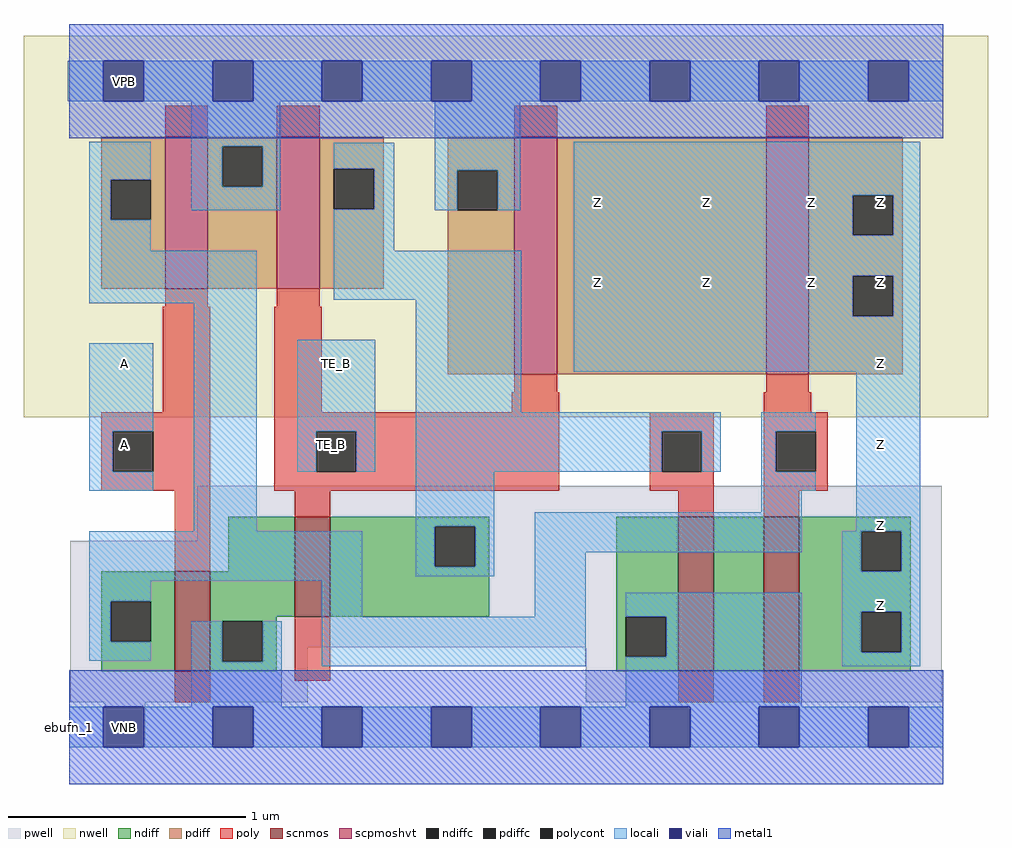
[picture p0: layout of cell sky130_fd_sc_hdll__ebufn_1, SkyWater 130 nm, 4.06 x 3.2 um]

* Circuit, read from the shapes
.subckt sky130_fd_sc_hdll__ebufn_1 A TE_B VGND VNB VPB VPWR Z
XM1 VGND A n1 VNB sky130_fd_pr__nfet_01v8 w=0.42 l=0.15
XM2 n2 TE_B VGND VNB sky130_fd_pr__nfet_01v8 w=0.42 l=0.15
XM3 n3 n2 VGND VNB sky130_fd_pr__nfet_01v8 w=0.65 l=0.15
XM4 Z n1 n3 VNB sky130_fd_pr__nfet_01v8 w=0.65 l=0.15
XM5 VPWR A n1 VPB sky130_fd_pr__pfet_01v8_hvt w=0.64 l=0.18
XM6 n2 TE_B VPWR VPB sky130_fd_pr__pfet_01v8_hvt w=0.64 l=0.18
XM7 n4 TE_B VPWR VPB sky130_fd_pr__pfet_01v8_hvt w=1 l=0.18
XM8 Z n1 n4 VPB sky130_fd_pr__pfet_01v8_hvt w=1 l=0.18
.ends

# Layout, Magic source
magic
tech sky130A
magscale 1 2
<< nwell >>
rect -38 261 774 582
<< pwell >>
rect 108 157 735 203
rect 1 67 735 157
rect 1 21 201 67
rect 435 21 735 67
rect 30 -17 64 21
<< scnmos >>
rect 89 47 119 131
rect 190 93 220 177
rect 513 47 543 177
rect 585 47 615 177
<< scpmoshvt >>
rect 81 369 117 497
rect 175 369 211 497
rect 375 297 411 497
rect 587 297 623 497
<< ndiff >>
rect 134 131 190 177
rect 27 106 89 131
rect 27 72 35 106
rect 69 72 89 106
rect 27 47 89 72
rect 119 93 190 131
rect 220 169 354 177
rect 220 135 308 169
rect 342 135 354 169
rect 220 93 354 135
rect 461 93 513 177
rect 119 89 175 93
rect 119 55 129 89
rect 163 55 175 89
rect 119 47 175 55
rect 461 59 469 93
rect 503 59 513 93
rect 461 47 513 59
rect 543 47 585 177
rect 615 165 709 177
rect 615 131 667 165
rect 701 131 709 165
rect 615 97 709 131
rect 615 63 667 97
rect 701 63 709 97
rect 615 47 709 63
<< pdiff >>
rect 27 461 81 497
rect 27 427 35 461
rect 69 427 81 461
rect 27 369 81 427
rect 117 489 175 497
rect 117 455 129 489
rect 163 455 175 489
rect 117 369 175 455
rect 211 470 265 497
rect 211 436 223 470
rect 257 436 265 470
rect 211 369 265 436
rect 319 469 375 497
rect 319 435 327 469
rect 361 435 375 469
rect 319 297 375 435
rect 411 297 587 497
rect 623 448 702 497
rect 623 414 660 448
rect 694 414 702 448
rect 623 380 702 414
rect 623 346 660 380
rect 694 346 702 380
rect 623 297 702 346
<< ndiffc >>
rect 35 72 69 106
rect 308 135 342 169
rect 129 55 163 89
rect 469 59 503 93
rect 667 131 701 165
rect 667 63 701 97
<< pdiffc >>
rect 35 427 69 461
rect 129 455 163 489
rect 223 436 257 470
rect 327 435 361 469
rect 660 414 694 448
rect 660 346 694 380
<< poly >>
rect 81 497 117 523
rect 175 497 211 523
rect 375 497 411 523
rect 587 497 623 523
rect 81 354 117 369
rect 175 354 211 369
rect 79 265 119 354
rect 27 249 119 265
rect 27 215 37 249
rect 71 215 119 249
rect 27 199 119 215
rect 173 265 213 354
rect 375 282 411 297
rect 587 282 623 297
rect 373 265 413 282
rect 585 265 625 282
rect 173 249 413 265
rect 173 215 208 249
rect 242 215 413 249
rect 173 199 413 215
rect 489 249 543 265
rect 489 215 499 249
rect 533 215 543 249
rect 489 199 543 215
rect 89 131 119 199
rect 190 177 220 199
rect 513 177 543 199
rect 585 249 639 265
rect 585 215 595 249
rect 629 215 639 249
rect 585 199 639 215
rect 585 177 615 199
rect 89 21 119 47
rect 190 39 220 93
rect 513 21 543 47
rect 585 21 615 47
<< polycont >>
rect 37 215 71 249
rect 208 215 242 249
rect 499 215 533 249
rect 595 215 629 249
<< locali >>
rect -1 527 29 561
rect 63 527 121 561
rect 155 527 213 561
rect 247 527 305 561
rect 339 527 397 561
rect 431 527 489 561
rect 523 527 581 561
rect 615 527 673 561
rect 707 527 736 561
rect 17 461 69 493
rect 17 427 35 461
rect 103 489 178 527
rect 103 455 129 489
rect 163 455 178 489
rect 103 435 178 455
rect 223 470 274 492
rect 257 436 274 470
rect 17 401 69 427
rect 223 401 274 436
rect 308 469 380 527
rect 308 435 327 469
rect 361 435 380 469
rect 425 448 717 493
rect 425 414 660 448
rect 694 414 717 448
rect 17 357 158 401
rect 223 360 381 401
rect 17 249 71 323
rect 17 215 37 249
rect 17 199 71 215
rect 105 165 158 357
rect 192 249 258 326
rect 192 215 208 249
rect 242 215 258 249
rect 292 265 381 360
rect 425 380 717 414
rect 425 346 660 380
rect 694 346 717 380
rect 425 299 717 346
rect 292 249 549 265
rect 292 215 499 249
rect 533 215 549 249
rect 583 249 629 265
rect 583 215 595 249
rect 292 169 358 215
rect 583 199 629 215
rect 583 181 617 199
rect 17 123 247 165
rect 292 135 308 169
rect 342 135 358 169
rect 292 127 358 135
rect 392 147 617 181
rect 663 165 717 299
rect 17 106 69 123
rect 17 72 35 106
rect 213 93 247 123
rect 392 93 435 147
rect 651 131 667 165
rect 701 131 717 165
rect 17 56 69 72
rect 103 55 129 89
rect 163 55 179 89
rect 103 17 179 55
rect 213 51 435 93
rect 469 93 617 113
rect 503 59 617 93
rect 469 17 617 59
rect 651 97 717 131
rect 651 63 667 97
rect 701 63 717 97
rect 651 51 717 63
rect 0 -17 29 17
rect 63 -17 121 17
rect 155 -17 213 17
rect 247 -17 305 17
rect 339 -17 397 17
rect 431 -17 489 17
rect 523 -17 581 17
rect 615 -17 673 17
rect 707 -17 736 17
<< viali >>
rect 29 527 63 561
rect 121 527 155 561
rect 213 527 247 561
rect 305 527 339 561
rect 397 527 431 561
rect 489 527 523 561
rect 581 527 615 561
rect 673 527 707 561
rect 29 -17 63 17
rect 121 -17 155 17
rect 213 -17 247 17
rect 305 -17 339 17
rect 397 -17 431 17
rect 489 -17 523 17
rect 581 -17 615 17
rect 673 -17 707 17
<< metal1 >>
rect 0 561 736 592
rect 0 527 29 561
rect 63 527 121 561
rect 155 527 213 561
rect 247 527 305 561
rect 339 527 397 561
rect 431 527 489 561
rect 523 527 581 561
rect 615 527 673 561
rect 707 527 736 561
rect 0 496 736 527
rect 0 17 736 48
rect 0 -17 29 17
rect 63 -17 121 17
rect 155 -17 213 17
rect 247 -17 305 17
rect 339 -17 397 17
rect 431 -17 489 17
rect 523 -17 581 17
rect 615 -17 673 17
rect 707 -17 736 17
rect 0 -48 736 -17
<< labels >>
rlabel comment s 0 0 0 0 4 ebufn_1
flabel locali s 608 357 642 391 0 FreeSans 200 0 0 0 Z
port 7 nsew signal output
flabel locali s 608 425 642 459 0 FreeSans 200 0 0 0 Z
port 7 nsew signal output
flabel locali s 666 425 700 459 0 FreeSans 200 0 0 0 Z
port 7 nsew signal output
flabel locali s 666 357 700 391 0 FreeSans 200 0 0 0 Z
port 7 nsew signal output
flabel locali s 666 289 700 323 0 FreeSans 200 0 0 0 Z
port 7 nsew signal output
flabel locali s 666 221 700 255 0 FreeSans 200 0 0 0 Z
port 7 nsew signal output
flabel locali s 204 221 238 255 0 FreeSans 200 0 0 0 TE_B
port 2 nsew signal input
flabel locali s 208 289 242 323 0 FreeSans 200 0 0 0 TE_B
port 2 nsew signal input
flabel locali s 30 289 64 323 0 FreeSans 200 0 0 0 A
port 1 nsew signal input
flabel locali s 30 221 64 255 0 FreeSans 200 0 0 0 A
port 1 nsew signal input
flabel locali s 520 357 554 391 0 FreeSans 200 0 0 0 Z
port 7 nsew signal output
flabel locali s 666 85 700 119 0 FreeSans 200 0 0 0 Z
port 7 nsew signal output
flabel locali s 666 153 700 187 0 FreeSans 200 0 0 0 Z
port 7 nsew signal output
flabel locali s 520 425 554 459 0 FreeSans 200 0 0 0 Z
port 7 nsew signal output
flabel locali s 428 425 462 459 0 FreeSans 200 0 0 0 Z
port 7 nsew signal output
flabel locali s 428 357 462 391 0 FreeSans 200 0 0 0 Z
port 7 nsew signal output
flabel pwell s 30 -17 64 17 0 FreeSans 200 0 0 0 VNB
port 4 nsew ground bidirectional
flabel nwell s 30 527 64 561 0 FreeSans 200 0 0 0 VPB
port 5 nsew power bidirectional
flabel metal1 s 30 527 64 561 0 FreeSans 200 0 0 0 VPWR
port 6 nsew power bidirectional
flabel metal1 s 30 -17 64 17 0 FreeSans 200 0 0 0 VGND
port 3 nsew ground bidirectional
<< properties >>
string LEFsite unithd
string LEFclass CORE
string FIXED_BBOX 0 0 736 544
string GDS_FILE $PDKPATH/libs.ref/sky130_fd_sc_hdll/gds/sky130_fd_sc_hdll.gds
string LEFsymmetry X Y R90
string GDS_END 1547596
string GDS_START 1540634
string LEFproperties maskLayoutSubType "abstract" prCellType "standard" originalViewName "layout"
<< end >>
